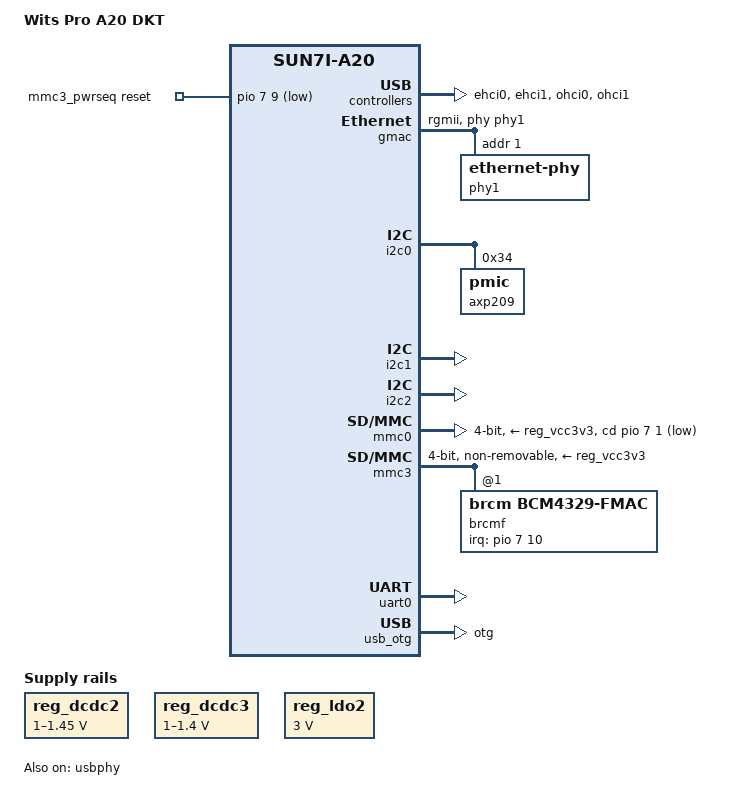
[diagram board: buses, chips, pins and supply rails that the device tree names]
/*
 * Copyright 2015 Jelle de Jong <jelledejong@powercraft.nl>
 *
 * This file is dual-licensed: you can use it either under the terms
 * of the GPL or the X11 license, at your option. Note that this dual
 * licensing only applies to this file, and not this project as a
 * whole.
 *
 *  a) This file is free software; you can redistribute it and/or
 *     modify it under the terms of the GNU General Public License as
 *     published by the Free Software Foundation; either version 2 of the
 *     License, or (at your option) any later version.
 *
 *     This file is distributed in the hope that it will be useful,
 *     but WITHOUT ANY WARRANTY; without even the implied warranty of
 *     MERCHANTABILITY or FITNESS FOR A PARTICULAR PURPOSE.  See the
 *     GNU General Public License for more details.
 *
 * Or, alternatively,
 *
 *  b) Permission is hereby granted, free of charge, to any person
 *     obtaining a copy of this software and associated documentation
 *     files (the "Software"), to deal in the Software without
 *     restriction, including without limitation the rights to use,
 *     copy, modify, merge, publish, distribute, sublicense, and/or
 *     sell copies of the Software, and to permit persons to whom the
 *     Software is furnished to do so, subject to the following
 *     conditions:
 *
 *     The above copyright notice and this permission notice shall be
 *     included in all copies or substantial portions of the Software.
 *
 *     THE SOFTWARE IS PROVIDED "AS IS", WITHOUT WARRANTY OF ANY KIND,
 *     EXPRESS OR IMPLIED, INCLUDING BUT NOT LIMITED TO THE WARRANTIES
 *     OF MERCHANTABILITY, FITNESS FOR A PARTICULAR PURPOSE AND
 *     NONINFRINGEMENT. IN NO EVENT SHALL THE AUTHORS OR COPYRIGHT
 *     HOLDERS BE LIABLE FOR ANY CLAIM, DAMAGES OR OTHER LIABILITY,
 *     WHETHER IN AN ACTION OF CONTRACT, TORT OR OTHERWISE, ARISING
 *     FROM, OUT OF OR IN CONNECTION WITH THE SOFTWARE OR THE USE OR
 *     OTHER DEALINGS IN THE SOFTWARE.
 */

/dts-v1/;
#include "sun7i-a20.dtsi"
#include "sunxi-common-regulators.dtsi"

#include <dt-bindings/gpio/gpio.h>
#include <dt-bindings/input/input.h>
#include <dt-bindings/interrupt-controller/irq.h>

/ {
	model = "Wits Pro A20 DKT";
	compatible = "wits,pro-a20-dkt", "allwinner,sun7i-a20";

	aliases {
		serial0 = &uart0;
	};

	chosen {
		stdout-path = "serial0:115200n8";
	};

	mmc3_pwrseq: mmc3_pwrseq {
		compatible = "mmc-pwrseq-simple";
		reset-gpios = <&pio 7 9 GPIO_ACTIVE_LOW>; /* PH9 WIFI_EN */
	};
};

&cpu0 {
	cpu-supply = <&reg_dcdc2>;
};

&ehci0 {
	status = "okay";
};

&ehci1 {
	status = "okay";
};

&gmac {
	pinctrl-names = "default";
	pinctrl-0 = <&gmac_rgmii_pins>;
	phy = <&phy1>;
	phy-mode = "rgmii";
	status = "okay";

	phy1: ethernet-phy@1 {
		reg = <1>;
	};
};

&i2c0 {
	status = "okay";

	axp209: pmic@34 {
		reg = <0x34>;
		interrupt-parent = <&nmi_intc>;
		interrupts = <0 IRQ_TYPE_LEVEL_LOW>;
	};
};

&i2c1 {
	status = "okay";
};

&i2c2 {
	status = "okay";
};

#include "axp209.dtsi"

&mmc0 {
	vmmc-supply = <&reg_vcc3v3>;
	bus-width = <4>;
	cd-gpios = <&pio 7 1 GPIO_ACTIVE_LOW>; /* PH1 */
	status = "okay";
};

&mmc3 {
	vmmc-supply = <&reg_vcc3v3>;
	mmc-pwrseq = <&mmc3_pwrseq>;
	bus-width = <4>;
	non-removable;
	status = "okay";

	brcmf: wifi@1 {
		reg = <1>;
		compatible = "brcm,bcm4329-fmac";
		interrupt-parent = <&pio>;
		interrupts = <7 10 IRQ_TYPE_LEVEL_LOW>; /* PH10 / EINT10 */
		interrupt-names = "host-wake";
	};
};

&ohci0 {
	status = "okay";
};

&ohci1 {
	status = "okay";
};

&otg_sram {
	status = "okay";
};

&pio {
	usb0_id_detect_pin: usb0-id-detect-pin {
		pins = "PH4";
		function = "gpio_in";
		bias-pull-up;
	};
};

&reg_dcdc2 {
	regulator-always-on;
	regulator-min-microvolt = <1000000>;
	regulator-max-microvolt = <1450000>;
	regulator-name = "vdd-cpu";
};

&reg_dcdc3 {
	regulator-always-on;
	regulator-min-microvolt = <1000000>;
	regulator-max-microvolt = <1400000>;
	regulator-name = "vdd-int-dll";
};

&reg_ldo1 {
	regulator-name = "vdd-rtc";
};

&reg_ldo2 {
	regulator-always-on;
	regulator-min-microvolt = <3000000>;
	regulator-max-microvolt = <3000000>;
	regulator-name = "avcc";
};

&reg_usb0_vbus {
	status = "okay";
};

&reg_usb1_vbus {
	status = "okay";
};

&reg_usb2_vbus {
	status = "okay";
};

&uart0 {
	pinctrl-names = "default";
	pinctrl-0 = <&uart0_pb_pins>;
	status = "okay";
};

&usb_otg {
	dr_mode = "otg";
	status = "okay";
};

&usb_power_supply {
	status = "okay";
};

&usbphy {
	pinctrl-names = "default";
	pinctrl-0 = <&usb0_id_detect_pin>;
	usb0_id_det-gpio = <&pio 7 4 GPIO_ACTIVE_HIGH>; /* PH4 */
	usb0_vbus_power-supply = <&usb_power_supply>;
	usb0_vbus-supply = <&reg_usb0_vbus>;
	usb1_vbus-supply = <&reg_usb1_vbus>;
	usb2_vbus-supply = <&reg_usb2_vbus>;
	status = "okay";
};
